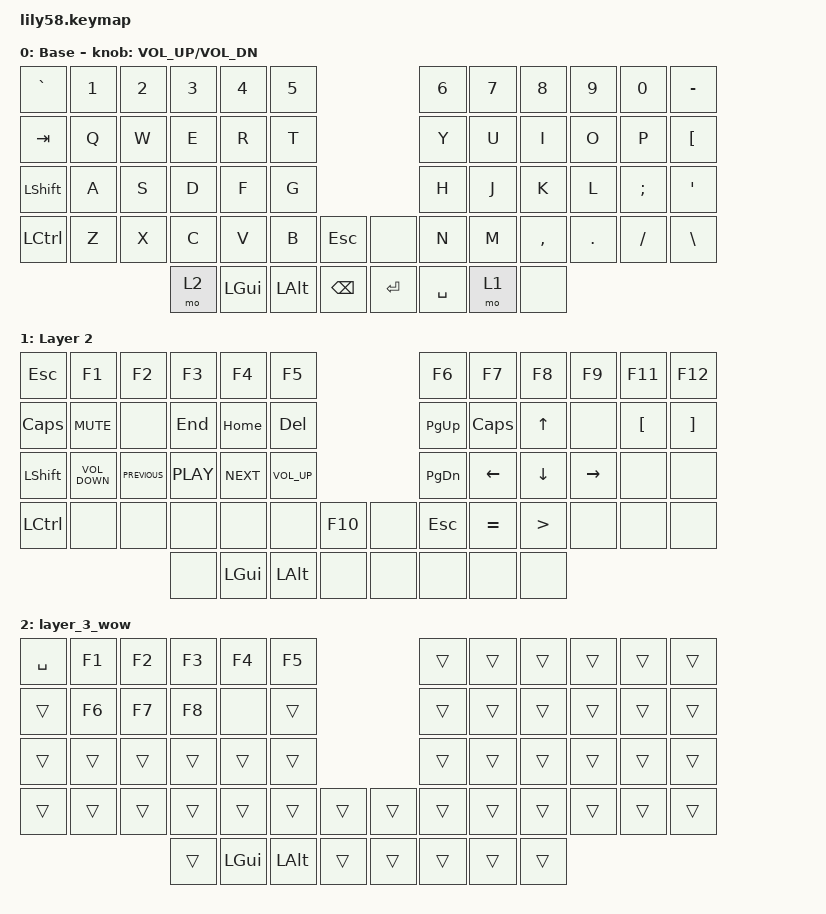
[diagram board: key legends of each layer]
/*
 * Copyright (c) 2020 The ZMK Contributors
 *
 * SPDX-License-Identifier: MIT
 */

#include <behaviors.dtsi>
#include <dt-bindings/zmk/keys.h>

/ {
    keymap {
        compatible = "zmk,keymap";

        default_layer {
            // ------------------------------------------------------------------------------------------------------------
            // |  GRAVE |  1  |  2  |  3   |  4   |  5   |                   |  6   |  7    |  8    |  9   |   0   |  -   |
            // |  TAB   |  Q  |  W  |  E   |  R   |  T   |                   |  Y   |  U    |  I    |  O   |   P   |  {   |
            // |  LSHFT |  A  |  S  |  D   |  F   |  G   |                   |  H   |  J    |  K    |  L   |   ;   |  '   |
            // |  LCTL  |  Z  |  X  |  C   |  V   |  B   |   ESC  |  |  N/A  |  N   |  M    |  ,    |  .   |   /   | BSLH |
            //                     |  N/A  | LGUI | LALT |  BSPC  |  | ENTER |  SPC | MO(2) |  N/A  |

            display-name = "Base";
            bindings = <
&kp GRAVE  &kp N1  &kp N2  &kp N3  &kp N4    &kp N5                         &kp N6     &kp N7  &kp N8     &kp N9   &kp N0    &kp MINUS
&kp TAB    &kp Q   &kp W   &kp E   &kp R     &kp T                          &kp Y      &kp U   &kp I      &kp O    &kp P     &kp LBKT
&kp LSHFT  &kp A   &kp S   &kp D   &kp F     &kp G                          &kp H      &kp J   &kp K      &kp L    &kp SEMI  &kp SQT
&kp LCTRL  &kp Z   &kp X   &kp C   &kp V     &kp B     &kp ESC     &none    &kp N      &kp M   &kp COMMA  &kp DOT  &kp FSLH  &kp BSLH
                           &mo 2   &kp LGUI  &kp LALT  &kp BSPC    &kp RET  &kp SPACE  &mo 1   &none
            >;

            sensor-bindings = <&inc_dec_kp C_VOL_UP C_VOL_DN>;
        };

        layer_2 {
            // ------------------------------------------------------------------------------------------------------------
            // |  F1   |  F2 |  F3 |  F4  |  F5  |  F6  |                   |  F7  |  F8   |  F9   | F10  | F11   | F12  |
            // |  N/A  |     | Home| End  | Del  |  N/A |                   | PgUp |  +    |  Up   |  =   |  [    |  ]   |
            // |  LSHFT|     | Vol-| Play | Vol+ |  N/A |                   | PgDn | Left  | Down  | Right|  N/A  | N/A  |
            // |  LCTL |  N/A|     |      |  N/A |  N/A |        |  |  N/A  |  ESC |  N/A  |  N/A  |  N/A |  N/A  | N/A  |
            //                     |  N/A  | LGUI | LALT |  N/A   |  |  N/A  |  N/A |  N/A  |  N/A  |

            display-name = "Layer 2";
            bindings = <
&kp ESC       &kp F1             &kp F2          &kp F3      &kp F4      &kp F5                             &kp F6         &kp F7        &kp F8            &kp F9     &kp F11   &kp F12
&kp CAPSLOCK  &kp C_MUTE         &none           &kp END     &kp HOME    &kp DELETE                         &kp PAGE_UP    &kp CAPSLOCK  &kp UP            &none      &kp LBKT  &kp RBKT
&kp LSHFT     &kp C_VOLUME_DOWN  &kp C_PREVIOUS  &kp C_PLAY  &kp C_NEXT  &kp C_VOLUME_UP                    &kp PAGE_DOWN  &kp LEFT      &kp DOWN          &kp RIGHT  &none     &none
&kp LCTRL     &none              &none           &none       &none       &none            &kp F10    &none  &kp ESC        &kp EQUAL     &kp GREATER_THAN  &none      &none     &none
                                                 &none       &kp LGUI    &kp LALT         &none      &none  &none          &none         &none
            >;
        };

        layer_3_wow {
            bindings = <
&kp SPACE  &kp F1  &kp F2  &kp F3  &kp F4    &kp F5                          &trans  &trans  &trans  &trans  &trans  &trans
&trans     &kp F6  &kp F7  &kp F8  &none     &trans                          &trans  &trans  &trans  &trans  &trans  &trans
&trans     &trans  &trans  &trans  &trans    &trans                          &trans  &trans  &trans  &trans  &trans  &trans
&trans     &trans  &trans  &trans  &trans    &trans        &trans    &trans  &trans  &trans  &trans  &trans  &trans  &trans
                           &trans  &kp LGUI  &kp LEFT_ALT  &trans    &trans  &trans  &trans  &trans
            >;
        };
    };
};
